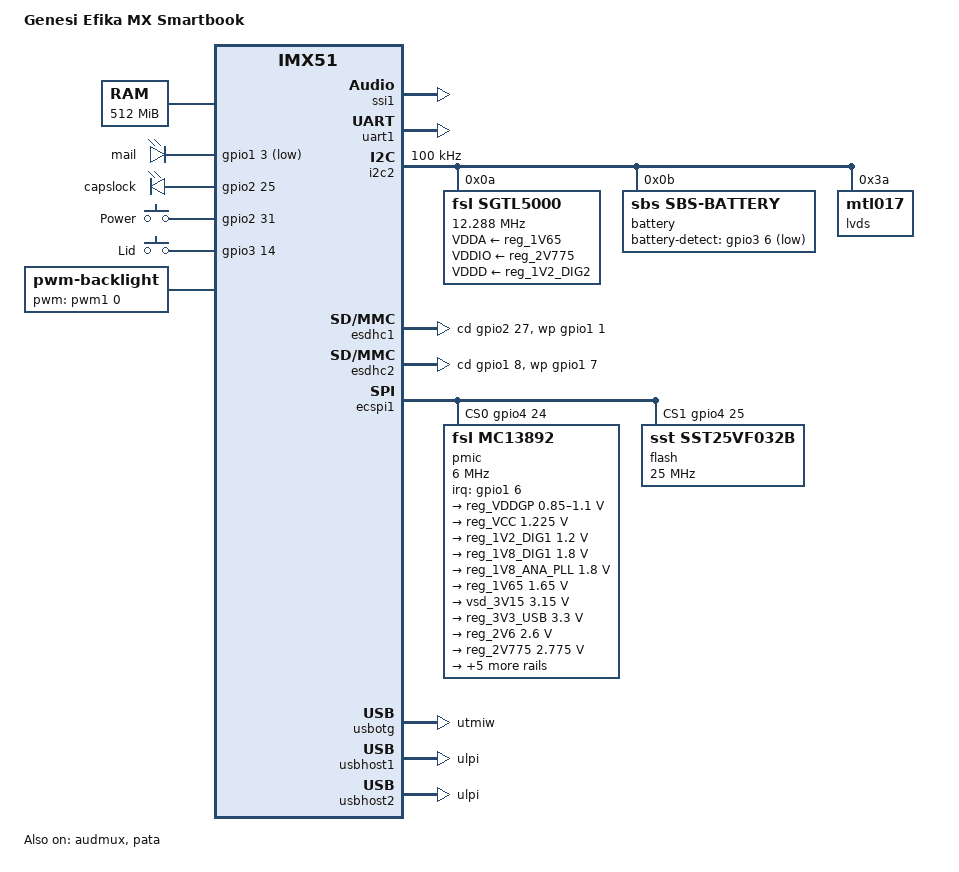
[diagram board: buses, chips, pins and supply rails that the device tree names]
/*
 * Copyright 2012 Sascha Hauer, Pengutronix <s.hauer@pengutronix.de>
 *
 * The code contained herein is licensed under the GNU General Public
 * License. You may obtain a copy of the GNU General Public License
 * Version 2 or later at the following locations:
 *
 * http://www.opensource.org/licenses/gpl-license.html
 * http://www.gnu.org/copyleft/gpl.html
 */

/dts-v1/;
/include/ "imx51.dtsi"

/ {
	model = "Genesi Efika MX Smartbook";
	compatible = "genesi,imx51-efikasb", "fsl,imx51";

	memory {
		reg = <0x90000000 0x20000000>;
	};

	leds {
		compatible = "gpio-leds";

		mail {
			label = "mail";
			gpios = <&gpio1 3 1>;
			linux,default-trigger = "heartbeat";
		};

		white {
			label = "capslock";
			gpios = <&gpio2 25 0>;
			linux,default-trigger = "none";
		};
	};

	gpio-keys {
		compatible = "gpio-keys";

		power {
			label = "Power";
			gpios = <&gpio2 31 0>;
			linux,code = <116>; /* KEY_POWER */
			gpio-key,wakeup;
		};

		lid {
			label = "Lid";
			gpios = <&gpio3 14 0>;
			linux,input-type = <5>; /* EV_SW */
			linux,code = <0>; /* SW_LID */
			debounce-interval = <1>;
			gpio-key,wakeup;
		};
	};

	sound {
		compatible = "fsl,imx-audio-sgtl5000";
		model = "Efika MX Internal";
		ssi-controller = <&ssi2>;
		audio-routing =
			"MIC_IN", "Mic Jack",
			"Mic Jack", "Mic Bias",
			"Ext Spk", "LINE_OUT";
		audio-codec = <&sgtl5000>;
		mux-int-port = <2>;
		mux-ext-port = <3>;
	};

	backlight {
		compatible = "pwm-backlight";
		pwms = <&pwm1 0 78770>;
		brightness-levels = <0 4 8 16 32 64 128 255>;
		default-brightness-level = <6>;
        };
};

&ssi1 {
	fsl,mode = "i2s-slave";
	status = "okay";
};

&iomuxc {
	pinctrl-names = "default";
	pinctrl-0 = <&pinctrl_hog>;

	hog {
		pinctrl_hog: hoggrp {
			fsl,pins = <
				169 0x800000c0	/* MX51_PAD_EIM_DTACK__GPIO2_31 (Power button) */
				84  0x80000000	/* MX51_PAD_EIM_A16__GPIO2_10 (WLAN reset) */
				102 0x80000000	/* MX51_PAD_EIM_A22__GPIO2_16 (WLAN power) */
				365 0x80000000	/* MX51_PAD_CSI2_D13__GPIO4_10 (WWAN power?) */
				503 0x80000000	/* MX51_PAD_DI1_PIN12__GPIO3_1 (WLAN switch) */
				87  0x80000000	/* MX51_PAD_EIM_A17__GPIO2_11 (Bluetooth power) */
				105 0x80000000	/* MX51_PAD_EIM_A23__GPIO2_17 (Audio amp enable, 1 = on) */
				741 0x80000000	/* MX51_PAD_GPIO1_6__REF_EN_B (PMIC interrupt) */
				501 0x80000000	/* MX51_PAD_DI1_PIN11__GPIO3_0 (Battery low) */
				379 0x80000000	/* MX51_PAD_CSI2_PIXCLK__GPIO4_15 (Power good) */
				357 0x80000000	/* MX51_PAD_CSI1_VSYNC__GPIO3_14 (Lid switch, 0 = closed) */
				402 0x85	/* MX51_PAD_CSPI1_SS0__GPIO4_24 */
				405 0x85	/* MX51_PAD_CSPI1_SS1__GPIO4_25 */
				343 0x80000000	/* MX51_PAD_CSI1_D8__GPIO3_12 (LVDS enable, 1 = on) */
				724 0x80000000	/* MX51_PAD_GPIO1_2__PWM1_PWMO (Backlight PWM) */
				373 0x80000000	/* MX51_PAD_CSI2_D19__GPIO4_12 (Backlight power, 0 = on) */
				517 0x80000000	/* MX51_PAD_DISPB2_SER_DIO__GPIO3_6 (LVDS reset, 1 = reset) */
				521 0x80000000	/* MX51_PAD_DISPB2_SER_CLK__GPIO3_7 (LVDS power, 1 = on) */
				220 0x80000000	/* MX51_PAD_NANDF_CS0__GPIO3_16 (Camera power, 0 = on) */
				737 0x80000000	/* MX51_PAD_GPIO1_5__GPIO1_5 (USB hub reset, 0 = reset) */
				63  0x80000000	/* MX51_PAD_EIM_D27__GPIO2_9 (USB phy reset, 0 = reset) */
				517 0x80000000	/* MX51_PAD_DISPB2_SER_DIO__GPIO3_6 (Battery, 0 = inserted) */
				725 0x80000000	/* MX51_PAD_GPIO1_3__GPIO1_3 (Alarm LED, 0 = on) */
				140 0x80000000	/* MX51_PAD_EIM_CS0__GPIO2_25 (Caps LED, 1 = on) */
				408 0x80000000	/* MX51_PAD_CSPI1_RDY__GPIO4_26 (Audio clk enable) */
			>;
		};
	};
};

&uart1 {
	pinctrl-names = "default";
	pinctrl-0 = <&pinctrl_uart1_1>;
	status = "okay";
};

&i2c2 {
	pinctrl-names = "default";
	pinctrl-0 = <&pinctrl_i2c2_1>;
	clock-frequency = <100000>;
	status = "okay";

	sgtl5000: sgtl5000@0a {
		compatible = "fsl,sgtl5000";
		reg = <0x0a>;
		clock-frequency = <12288000>;
		VDDA-supply = <&reg_1V65>;
		VDDIO-supply = <&reg_2V775>;
		VDDD-supply = <&reg_1V2_DIG2>;
	};

	battery: battery@0b {
		compatible = "sbs,sbs-battery";
		reg = <0x0b>;
		sbs,battery-detect-gpios = <&gpio3 6 1>;
	};

	lvds: mtl017@3a {
		compatible = "mtl017";
		reg = <0x3a>;
		crtcs = <&ipu 1>;
		edid-i2c = <&i2c2>;
		interface-pix-fmt = "rgb565";
		pinctrl-names = "default";
		pinctrl-0 = <&pinctrl_ipu_disp1_1>;
	};
};

&esdhc1 {
	pinctrl-names = "default";
	pinctrl-0 = <&pinctrl_esdhc1_1>;
	cd-gpios = <&gpio2 27 0>;
	wp-gpios = <&gpio1 1 0>;
	status = "okay";
};

&esdhc2 {
	pinctrl-names = "default";
	pinctrl-0 = <&pinctrl_esdhc2_1>;
	cd-gpios = <&gpio1 8 0>;
	wp-gpios = <&gpio1 7 0>;
	status = "okay";
};

&ecspi1 {
	fsl,spi-num-chipselects = <1>;
	cs-gpios = <&gpio4 23 0>;
	pinctrl-names = "default";
	pinctrl-0 = <&pinctrl_ecspi1_1>;
	fsl,spi-num-chipselects = <2>;
	cs-gpios = <&gpio4 24 0>, <&gpio4 25 0>;
	status = "okay";

	pmic: mc13892@0 {
		compatible = "fsl,mc13892";
		spi-max-frequency = <6000000>;
		reg = <0>;
		#address-cells = <1>;
		#size-cells = <0>;
		interrupt-parent = <&gpio1>;
		interrupts = <6 0x4>;
		fsl,mc13xxx-uses-rtc;

		regulators {
			reg_VDDGP: sw1 {
				regulator-name = "VDDGP";
				regulator-min-microvolt = <850000>;
				regulator-max-microvolt = <1100000>;
				regulator-boot-on;
				regulator-always-on;
			};

			reg_VCC: sw2 {
				regulator-name = "VCC";
				regulator-min-microvolt = <1225000>;
				regulator-max-microvolt = <1225000>;
				regulator-boot-on;
				regulator-always-on;
			};

			reg_1V2_DIG1: sw3 {
				regulator-name = "1V2_DIG1";
				regulator-min-microvolt = <1200000>;
				regulator-max-microvolt = <1200000>;
				regulator-boot-on;
				regulator-always-on;
			};

			reg_1V8_DIG1: sw4 {
				regulator-name = "1V8_DIG1";
				regulator-min-microvolt = <1800000>;
				regulator-max-microvolt = <1800000>;
				regulator-boot-on;
				regulator-always-on;
			};

			reg_1V8_ANA_PLL: vpll {
				regulator-name = "1V8_ANA_PLL";
				regulator-min-microvolt = <1800000>;
				regulator-max-microvolt = <1800000>;
				regulator-boot-on;
				regulator-always-on;
			};

			reg_1V65: vdig {
				regulator-name = "1V65";
				regulator-min-microvolt = <1650000>;
				regulator-max-microvolt = <1650000>;
			};

			vsd_3V15: vsd {
				regulator-name = "3V15";
				regulator-min-microvolt = <3150000>;
				regulator-max-microvolt = <3150000>;
			};

			reg_3V3_USB: vusb {
				regulator-name = "3V3_USB";
				regulator-min-microvolt = <3300000>;
				regulator-max-microvolt = <3300000>;
				regulator-boot-on;
				regulator-always-on;
			};

			reg_2V6: vusb2 {
				regulator-name = "2V6";
				regulator-min-microvolt = <2600000>;
				regulator-max-microvolt = <2600000>;
				regulator-boot-on;
				regulator-always-on;
			};

			reg_2V775: vvideo {
				regulator-name = "2V775";
				regulator-min-microvolt = <2775000>;
				regulator-max-microvolt = <2775000>;
			};

			reg_3V_ANA: vaudio {
				regulator-name = "3V_ANA";
				regulator-min-microvolt = <3000000>;
				regulator-max-microvolt = <3000000>;
			};

			reg_1V2_DIG2: vgen1 {
				regulator-name = "1V2_DIG2";
				regulator-min-microvolt = <1200000>;
				regulator-max-microvolt = <1200000>;
			};

			reg_3V15_BOOT: vgen2 {
				regulator-name = "3V15_BOOT";
				regulator-min-microvolt = <3150000>;
				regulator-max-microvolt = <3150000>;
				regulator-always-on;
			};

			reg_1V8_DIG2: vgen3 {
				regulator-name = "1V8_DIG2";
				regulator-min-microvolt = <1800000>;
				regulator-max-microvolt = <1800000>;
				regulator-always-on;
			};

			reg_2V775_BOOT: viohi {
				regulator-name = "2V775_BOOT";
				regulator-min-microvolt = <2775000>;
				regulator-max-microvolt = <2775000>;
				regulator-always-on;
			};

			/* not sure if we need the RTC supply for Smartbook? */
		};
	};

	flash: m25p80 {
		compatible = "sst,sst25vf032b";
		spi-max-frequency = <25000000>;
		reg = <1>;
	};
};

&audmux {
	pinctrl-names = "default";
	pinctrl-0 = <&pinctrl_audmux_1>;
	status = "okay";
};

&pata {
	pinctrl-names = "default";
	pinctrl-0 = <&pinctrl_pata_1>;
	status = "okay";
};

&usbotg {
	phy-mode = "utmiw";
	disable-over-current;
	status = "okay";
};

&usbhost1 {
	phy-mode = "ulpi";
	ext-clk;
	disable-over-current;
	chrgvbus-is-vbus-det;
	status = "okay";
};

&usbhost2 {
	phy-mode = "ulpi";
	ext-clk;
	disable-over-current;
	chrgvbus-is-vbus-det;
	status = "okay";
};
